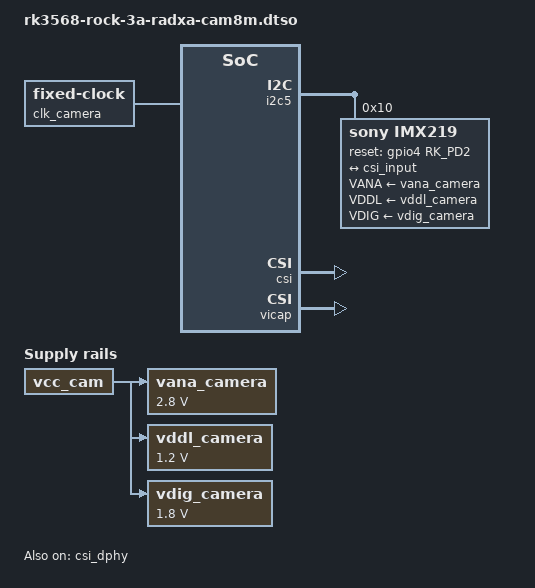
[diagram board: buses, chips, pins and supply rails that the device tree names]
// SPDX-License-Identifier: (GPL-2.0+ OR MIT)
/*
 * Device tree overlay for the Radxa Camera 8M attached to the CSI port of
 * the Radxa ROCK 3A.
 */

/dts-v1/;
/plugin/;

#include <dt-bindings/gpio/gpio.h>
#include <dt-bindings/pinctrl/rockchip.h>

&{/} {
	clk_camera: clock-camera {
		compatible = "fixed-clock";
		clock-frequency = <24000000>;
		clock-output-names = "clk_camera";
		#clock-cells = <0>;
	};

	vana_camera: regulator-vana-camera {
		compatible = "regulator-fixed";
		regulator-min-microvolt = <2800000>;
		regulator-max-microvolt = <2800000>;
		regulator-name = "vana_camera";
		vin-supply = <&vcc_cam>;
	};

	vddl_camera: regulator-vddl-camera {
		compatible = "regulator-fixed";
		regulator-min-microvolt = <1200000>;
		regulator-max-microvolt = <1200000>;
		regulator-name = "vddl_camera";
		vin-supply = <&vcc_cam>;
	};

	vdig_camera: regulator-vdig-camera {
		compatible = "regulator-fixed";
		regulator-min-microvolt = <1800000>;
		regulator-max-microvolt = <1800000>;
		regulator-name = "vdig_camera";
		vin-supply = <&vcc_cam>;
	};
};

&i2c5 {
	#address-cells = <1>;
	#size-cells = <0>;
	status = "okay";

	imx219: camera-sensor@10 {
		compatible = "sony,imx219";
		reg = <0x10>;
		clocks = <&clk_camera>;
		clock-names = "xclk";
		pinctrl-names = "default";
		pinctrl-0 = <&camera_reset>;
		reset-gpios = <&gpio4 RK_PD2 GPIO_ACTIVE_HIGH>;
		VANA-supply = <&vana_camera>;
		VDDL-supply = <&vddl_camera>;
		VDIG-supply = <&vdig_camera>;

		port {
			imx219_output: endpoint {
				data-lanes = <1 2>;
				link-frequencies = /bits/ 64 <456000000>;
				remote-endpoint = <&csi_input>;
			};
		};
	};
};

&pinctrl {
	cam {
		camera_reset: camera-reset-pinctrl {
			rockchip,pins = <4 RK_PD2 RK_FUNC_GPIO &pcfg_pull_none>;
		};
	};
};

&csi {
	status = "okay";
};

&csi_dphy {
	status = "okay";
};

&csi_in {
	csi_input: endpoint {
		data-lanes = <1 2>;
		link-frequencies = /bits/ 64 <456000000>;
		remote-endpoint = <&imx219_output>;
	};
};

&vicap {
	status = "okay";
};

&vicap_mmu {
	status = "okay";
};
